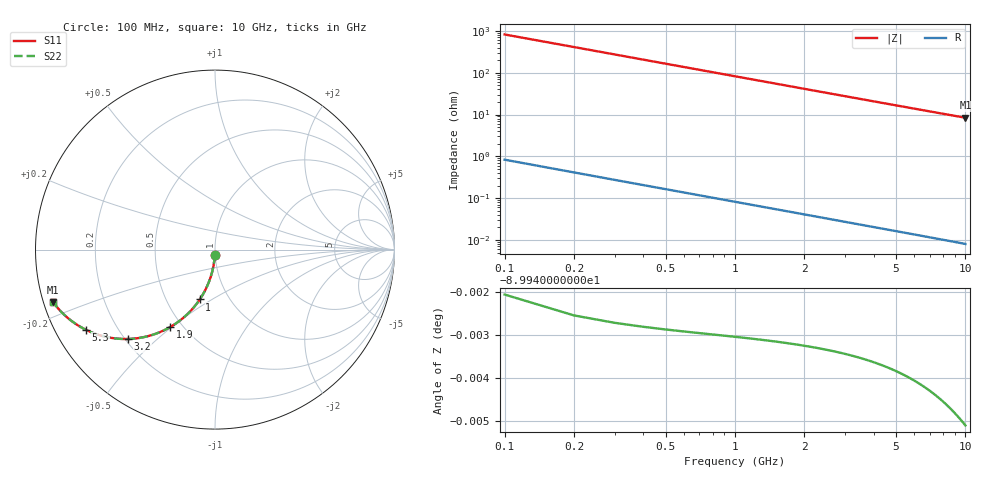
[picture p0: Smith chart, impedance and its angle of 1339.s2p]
# Hz S RI R 50.00
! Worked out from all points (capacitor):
!   100 points, 100 MHz to 10 GHz, reference 50 ohm
!   read as one part in shunt: C = 1.94 pF near 100 MHz
!   lowest |Z| = 8.38 ohm at 10 GHz (marker M1)
!   S11 on the Smith chart (normalised r, x): 100 MHz: 1.00, -0.06; 1 GHz: 0.73, -0.44; 1.9 GHz: 0.43, -0.49; 3.2 GHz: 0.21, -0.41; 5.3 GHz: 0.09, -0.28; 10 GHz: 0.03, -0.16
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1e8  -0.000943 -0.0304  0.999 -0.0304  0.999 -0.0304  -0.000943 -0.0304
2e8  -0.00374 -0.0605  0.9962 -0.0607  0.9962 -0.0607  -0.00374 -0.0605
3e8  -0.00834 -0.0904  0.9916 -0.0906  0.9916 -0.0906  -0.00834 -0.0904
4e8  -0.0147 -0.1197  0.9853 -0.1201  0.9853 -0.1201  -0.0147 -0.1197
5e8  -0.0227 -0.1484  0.9772 -0.1488  0.9772 -0.1488  -0.0227 -0.1484
6e8  -0.0324 -0.1763  0.9676 -0.1768  0.9676 -0.1768  -0.0324 -0.1763
7e8  -0.0436 -0.2033  0.9564 -0.2039  0.9564 -0.2039  -0.0436 -0.2033
8e8  -0.0561 -0.2293  0.9439 -0.23  0.9439 -0.23  -0.0561 -0.2293
1e9  -0.0849 -0.2778  0.9151 -0.2786  0.9151 -0.2786  -0.0849 -0.2778
1.2e9  -0.1177 -0.3213  0.8822 -0.3223  0.8822 -0.3223  -0.1177 -0.3213
1.4e9  -0.1536 -0.3595  0.8464 -0.3607  0.8464 -0.3607  -0.1536 -0.3595
1.8e9  -0.2305 -0.42  0.7694 -0.4214  0.7694 -0.4214  -0.2305 -0.42
1.9e9  -0.2502 -0.4319  0.7497 -0.4334  0.7497 -0.4334  -0.2502 -0.4319
2.5e9  -0.3658 -0.4801  0.6342 -0.4822  0.6342 -0.4822  -0.3658 -0.4801
3.2e9  -0.4854 -0.498  0.5146 -0.5006  0.5146 -0.5006  -0.4854 -0.498
3.4e9  -0.5155 -0.4979  0.4844 -0.5006  0.4844 -0.5006  -0.5155 -0.4979
4.2e9  -0.6184 -0.4836  0.3816 -0.487  0.3816 -0.487  -0.6184 -0.4836
5.1e9  -0.7045 -0.4537  0.2954 -0.4578  0.2954 -0.4578  -0.7045 -0.4537
5.3e9  -0.7202 -0.4462  0.2798 -0.4505  0.2798 -0.4505  -0.7202 -0.4462
6.7e9  -0.804 -0.3937  0.1959 -0.3992  0.1959 -0.3992  -0.804 -0.3937
8.4e9  -0.8655 -0.3372  0.1345 -0.3441  0.1345 -0.3441  -0.8655 -0.3372
1e10  -0.901 -0.2939  0.0989 -0.3022  0.0989 -0.3022  -0.901 -0.2939
